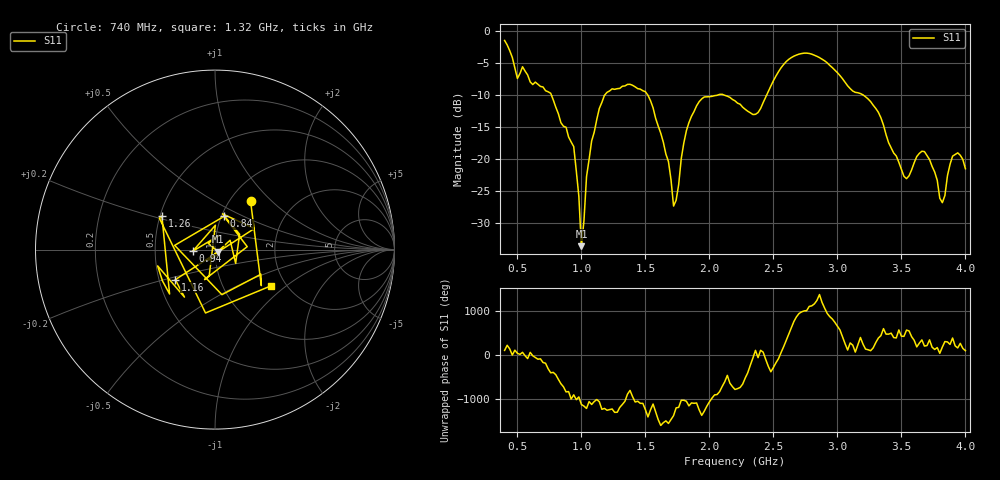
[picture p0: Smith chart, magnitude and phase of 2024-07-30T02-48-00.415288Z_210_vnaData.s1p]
!Created with skrf (http://scikit-rf.org).
# Hz S RI R 50.0
!freq ReS11 ImS11
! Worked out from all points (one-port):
!   181 points, 400 MHz to 4 GHz, reference 50 ohm
!   lowest |S11| = -33.7 dB at 1 GHz (marker M1), VSWR 1.04, Z = 51.7 - j1.2 ohm
!   |S11| at or under -10 dB: 765.5 MHz to 1.182 GHz (416.3 MHz wide, 42.8 % of centre); 1.519 GHz to 2.064 GHz (545.6 MHz wide, 30.5 % of centre); 3.202 GHz to end of sweep (the widest 3 of 4)
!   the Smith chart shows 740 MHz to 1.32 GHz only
!   S11 on the Smith chart (normalised r, x): 740 MHz: 1.24, +0.76; 840 MHz: 1.03, +0.40; 940 MHz: 0.78, -0.01; 1.16 GHz: 0.61, -0.22; 1.26 GHz: 0.51, +0.22; 1.32 GHz: 1.67, -0.78
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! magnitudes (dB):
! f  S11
! 400 MHz  -1.4
! 500 MHz  -7.4
! 740 MHz  -9.5
! 840 MHz  -14.3
! 860 MHz  -14.9
! 940 MHz  -18.1
! 1 GHz  -33.7
! 1.04 GHz  -22.8
! 1.16 GHz  -11.1
! 1.26 GHz  -9.1
! 1.3 GHz  -8.9
! 1.32 GHz  -8.6
! 1.52 GHz  -10.0
! 1.68 GHz  -20.4
! 1.72 GHz  -27.4
! 1.76 GHz  -24.0
! 1.82 GHz  -15.6
! 1.92 GHz  -11.0
! 2.2 GHz  -10.9
! 2.38 GHz  -12.7
! 2.66 GHz  -3.9
! 3.1 GHz  -9.0
! 3.3 GHz  -12.1
! 3.56 GHz  -22.6
! 3.68 GHz  -18.9
! 3.82 GHz  -26.9
! 3.9 GHz  -19.6
! 4 GHz  -21.5
